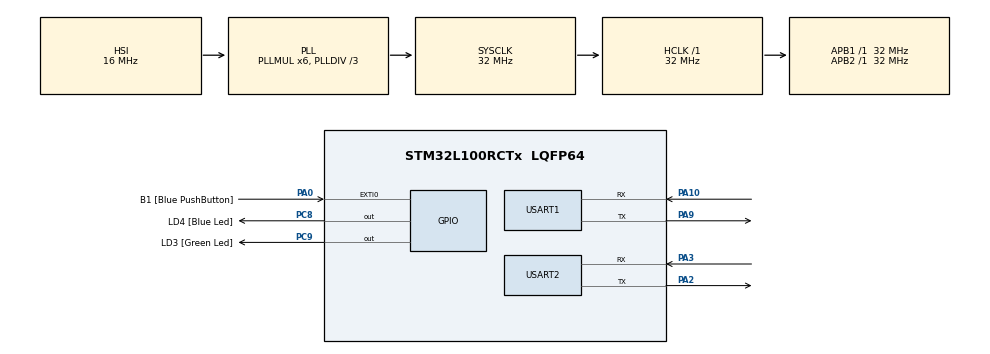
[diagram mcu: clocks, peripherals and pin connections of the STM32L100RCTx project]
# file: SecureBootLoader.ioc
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Mcu.Family=STM32L1
Mcu.Name=STM32L100RCTx
Mcu.Package=LQFP64
NVIC.PriorityGroup=NVIC_PRIORITYGROUP_0
PA0-WKUP1.GPIO_Label=B1 [Blue PushButton]
PA0-WKUP1.GPIO_ModeDefaultEXTI=GPIO_MODE_EVT_RISING
PA0-WKUP1.Signal=GPXTI0
PA10.Mode=Asynchronous
PA10.Signal=USART1_RX
PA13.GPIO_Label=SWDIO
PA13.Mode=Serial_Wire
PA13.Signal=SYS_JTMS-SWDIO
PA14.GPIO_Label=SWCLK
PA14.Mode=Serial_Wire
PA14.Signal=SYS_JTCK-SWCLK
PA2.Mode=Asynchronous
PA2.Signal=USART2_TX
PA3.Mode=Asynchronous
PA3.Signal=USART2_RX
PA9.Mode=Asynchronous
PA9.Signal=USART1_TX
PB3.GPIO_Label=SWO
PB3.Signal=SYS_JTDO-TRACESWO
PC14-OSC32_IN.GPIO_Label=PC14-OSC32_IN
PC14-OSC32_IN.Signal=RCC_OSC32_IN
PC15-OSC32_OUT.GPIO_Label=PC15-OSC32_OUT
PC15-OSC32_OUT.Signal=RCC_OSC32_OUT
PC8.GPIO_Label=LD4 [Blue Led]
PC8.Signal=GPIO_Output
PC9.GPIO_Label=LD3 [Green Led]
PC9.Signal=GPIO_Output
PH0-OSC_IN.GPIO_Label=PH0-OSC_IN
PH0-OSC_IN.Mode=HSE-External-Clock-Source
PH0-OSC_IN.Signal=RCC_OSC_IN
PH1-OSC_OUT.GPIO_Label=PH1-OSC_OUT
PH1-OSC_OUT.Signal=RCC_OSC_OUT
ProjectManager.HeapSize=0x200
ProjectManager.StackSize=0x400
ProjectManager.TargetToolchain=STM32CubeIDE
RCC.48MHZClocksFreq_Value=48000000
RCC.AHBFreq_Value=32000000
RCC.APB1Freq_Value=32000000
RCC.APB1TimFreq_Value=32000000
RCC.APB2Freq_Value=32000000
RCC.APB2TimFreq_Value=32000000
RCC.HCLKFreq_Value=32000000
RCC.HSE_VALUE=8000000
RCC.HSI_VALUE=16000000
RCC.LSEState=RCC_LSE_ON
RCC.LSE_VALUE=32768
RCC.MSI_VALUE=2097000
RCC.PLLDIV=RCC_PLL_DIV3
RCC.PLLMUL=RCC_PLL_MUL6
RCC.RTCClockSelectionVirtual=RCC_RTCCLKSOURCE_LSE
RCC.SYSCLKFreq_VALUE=32000000
RCC.SYSCLKSource=RCC_SYSCLKSOURCE_PLLCLK
RCC.USBOutput=48000000
RCC.VCOOutputFreq_Value=96000000
USART1.VirtualMode=VM_ASYNC
USART2.VirtualMode=VM_ASYNC
board=STM32L100C-DISCO

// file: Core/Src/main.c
/* USER CODE BEGIN Header */
/**
  ******************************************************************************
  * @file           : main.c
  * @brief          : Main program body
  ******************************************************************************
  * @attention
  *
  * Copyright (c) 2026 STMicroelectronics.
  * All rights reserved.
  *
  * This software is licensed under terms that can be found in the LICENSE file
  * in the root directory of this software component.
  * If no LICENSE file comes with this software, it is provided AS-IS.
  *
  ******************************************************************************
  */
/* USER CODE END Header */
#include "main.h"
#include "stm32l1xx_hal.h"

/* USER CODE BEGIN Includes */
#include "bl_boot.h"
#include "bl_config.h"
#include "bl_debug.h"
#include "bl_ecdsa.h"
#include "bl_protocol.h"
#include "bl_sha256.h"
#include "bl_uart.h"
/* USER CODE END Includes */

UART_HandleTypeDef huart1;
UART_HandleTypeDef huart2;

void SystemClock_Config(void);
static void MX_GPIO_Init(void);
static void MX_USART1_UART_Init(void);
static void MX_USART2_UART_Init(void);

int main(void)
{

  /* MCU Configuration--------------------------------------------------------*/

  /* Reset of all peripherals, Initializes the Flash interface and the Systick. */
  HAL_Init();

  /* Configure the system clock */
  SystemClock_Config();

  /* Initialize all configured peripherals */
  MX_GPIO_Init();
  MX_USART1_UART_Init();
  MX_USART2_UART_Init();
  /* USER CODE BEGIN 2 */
  bl_debug_init(&huart2);
  bl_log("Bootloader %u.%u.%u", BL_VERSION_MAJOR, BL_VERSION_MINOR, BL_VERSION_PATCH);
  bl_log("SHA-256 self-test %s", sha256_self_test() ? "passed" : "FAILED");
  bl_log("ECDSA self-test %s", bl_ecdsa_self_test() ? "passed" : "FAILED");

  // Boot decision (spec section 3.2): request flag, forced-entry pin, valid application
  if (bl_boot_flag_check_and_clear())
    bl_log("Boot request flag set by application");
  else if (bl_force_pin_active())
    bl_log("B1 held at reset");
  else if (bl_app_is_valid())
    bl_jump_to_app();

  // Staying resident: blue LED on, protocol on USART1, debug log on USART2
  HAL_GPIO_WritePin(LD4_GPIO_Port, LD4_Pin, GPIO_PIN_SET);
  bl_log("Waiting for commands on USART1");
  bl_protocol_init();
  bl_uart_init(&huart1);
  /* USER CODE END 2 */

  /* Infinite loop */
  while (1)
  {

    /* USER CODE BEGIN 3 */
    bl_protocol_poll();
  }
  /* USER CODE END 3 */
}

void SystemClock_Config(void)
{
  RCC_OscInitTypeDef RCC_OscInitStruct = {0};
  RCC_ClkInitTypeDef RCC_ClkInitStruct = {0};

  /** Configure the main internal regulator output voltage
  */
  __HAL_PWR_VOLTAGESCALING_CONFIG(PWR_REGULATOR_VOLTAGE_SCALE1);

  /** Initializes the RCC Oscillators according to the specified parameters
  * in the RCC_OscInitTypeDef structure.
  */
  RCC_OscInitStruct.OscillatorType = RCC_OSCILLATORTYPE_HSI;
  RCC_OscInitStruct.HSIState = RCC_HSI_ON;
  RCC_OscInitStruct.HSICalibrationValue = RCC_HSICALIBRATION_DEFAULT;
  RCC_OscInitStruct.PLL.PLLState = RCC_PLL_ON;
  RCC_OscInitStruct.PLL.PLLSource = RCC_PLLSOURCE_HSI;
  RCC_OscInitStruct.PLL.PLLMUL = RCC_PLL_MUL6;
  RCC_OscInitStruct.PLL.PLLDIV = RCC_PLL_DIV3;
  if (HAL_RCC_OscConfig(&RCC_OscInitStruct) != HAL_OK)
  {
    Error_Handler();
  }

  /** Initializes the CPU, AHB and APB buses clocks
  */
  RCC_ClkInitStruct.ClockType = RCC_CLOCKTYPE_HCLK|RCC_CLOCKTYPE_SYSCLK
                              |RCC_CLOCKTYPE_PCLK1|RCC_CLOCKTYPE_PCLK2;
  RCC_ClkInitStruct.SYSCLKSource = RCC_SYSCLKSOURCE_PLLCLK;
  RCC_ClkInitStruct.AHBCLKDivider = RCC_SYSCLK_DIV1;
  RCC_ClkInitStruct.APB1CLKDivider = RCC_HCLK_DIV1;
  RCC_ClkInitStruct.APB2CLKDivider = RCC_HCLK_DIV1;

  if (HAL_RCC_ClockConfig(&RCC_ClkInitStruct, FLASH_LATENCY_1) != HAL_OK)
  {
    Error_Handler();
  }
}

static void MX_USART1_UART_Init(void)
{

  huart1.Instance = USART1;
  huart1.Init.BaudRate = 115200;
  huart1.Init.WordLength = UART_WORDLENGTH_8B;
  huart1.Init.StopBits = UART_STOPBITS_1;
  huart1.Init.Parity = UART_PARITY_NONE;
  huart1.Init.Mode = UART_MODE_TX_RX;
  huart1.Init.HwFlowCtl = UART_HWCONTROL_NONE;
  huart1.Init.OverSampling = UART_OVERSAMPLING_16;
  if (HAL_UART_Init(&huart1) != HAL_OK)
  {
    Error_Handler();
  }

}

static void MX_USART2_UART_Init(void)
{

  huart2.Instance = USART2;
  huart2.Init.BaudRate = 115200;
  huart2.Init.WordLength = UART_WORDLENGTH_8B;
  huart2.Init.StopBits = UART_STOPBITS_1;
  huart2.Init.Parity = UART_PARITY_NONE;
  huart2.Init.Mode = UART_MODE_TX_RX;
  huart2.Init.HwFlowCtl = UART_HWCONTROL_NONE;
  huart2.Init.OverSampling = UART_OVERSAMPLING_16;
  if (HAL_UART_Init(&huart2) != HAL_OK)
  {
    Error_Handler();
  }

}

static void MX_GPIO_Init(void)
{
  GPIO_InitTypeDef GPIO_InitStruct = {0};

  /* GPIO Ports Clock Enable */
  __HAL_RCC_GPIOC_CLK_ENABLE();
  __HAL_RCC_GPIOH_CLK_ENABLE();
  __HAL_RCC_GPIOA_CLK_ENABLE();
  __HAL_RCC_GPIOB_CLK_ENABLE();

  /*Configure GPIO pin Output Level */
  HAL_GPIO_WritePin(GPIOC, LD4_Pin|LD3_Pin, GPIO_PIN_RESET);

  /*Configure GPIO pin : B1_Pin */
  GPIO_InitStruct.Pin = B1_Pin;
  GPIO_InitStruct.Mode = GPIO_MODE_EVT_RISING;
  GPIO_InitStruct.Pull = GPIO_NOPULL;
  HAL_GPIO_Init(B1_GPIO_Port, &GPIO_InitStruct);

  /*Configure GPIO pins : LD4_Pin LD3_Pin */
  GPIO_InitStruct.Pin = LD4_Pin|LD3_Pin;
  GPIO_InitStruct.Mode = GPIO_MODE_OUTPUT_PP;
  GPIO_InitStruct.Pull = GPIO_NOPULL;
  GPIO_InitStruct.Speed = GPIO_SPEED_FREQ_LOW;
  HAL_GPIO_Init(GPIOC, &GPIO_InitStruct);

}

void Error_Handler(void)
{
  __disable_irq();
  while (1)
  {
  }
}
